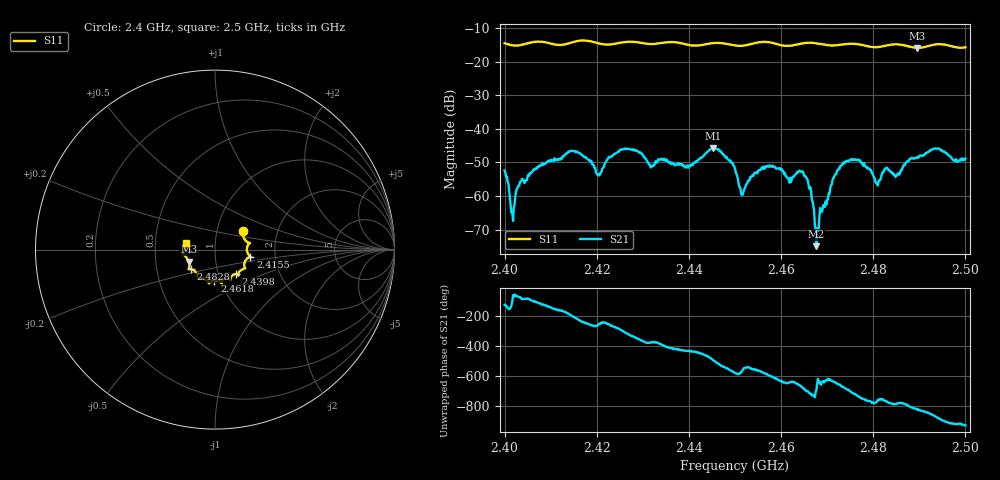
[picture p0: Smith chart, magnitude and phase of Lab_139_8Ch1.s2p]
# Hz S RI R 50
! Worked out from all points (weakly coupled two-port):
!   601 points, 2.4 GHz to 2.5 GHz, reference 50 ohm
!   highest |S21| = -45.72 dB at 2.4453 GHz (marker M1); lowest = -74.9 dB at 2.4677 GHz (marker M2)
!   lowest |S11| = -15.9 dB at 2.4895 GHz (marker M3), VSWR 1.38, Z = 37 - j5.03 ohm
!   |S11| at or under -10 dB: start of sweep to end of sweep
!   S12 and S22 are empty: the file has one direction only
!   S11 on the Smith chart (normalised r, x): 2.4 GHz: 1.33, +0.29; 2.4155 GHz: 1.49, -0.12; 2.4398 GHz: 1.21, -0.34; 2.4618 GHz: 0.94, -0.33; 2.4828 GHz: 0.74, -0.17; 2.5 GHz: 0.72, +0.06
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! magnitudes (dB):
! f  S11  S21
! 2.4 GHz  -14.5  -52.4
! 2.4017 GHz  -15.1  -64.5
! 2.406 GHz  -14.2  -52.7
! 2.4155 GHz  -13.9  -47.0
! 2.4167 GHz  -13.7  -47.6
! 2.4203 GHz  -14.5  -53.5
! 2.4257 GHz  -14.2  -46.1
! 2.4333 GHz  -14.6  -49.1
! 2.4398 GHz  -15.0  -51.6
! 2.4453 GHz  -14.5  -45.7
! 2.45 GHz  -15.1  -51.9
! 2.4517 GHz  -15.3  -59.6
! 2.4572 GHz  -14.2  -51.2
! 2.4618 GHz  -15.3  -56.0
! 2.4645 GHz  -14.6  -52.8
! 2.4667 GHz  -14.4  -61.1
! 2.4677 GHz  -14.5  -74.9
! 2.4735 GHz  -14.8  -50.4
! 2.4828 GHz  -15.2  -51.6
! 2.4833 GHz  -15.0  -52.3
! 2.4895 GHz  -15.9  -48.6
! 2.5 GHz  -15.7  -48.8
